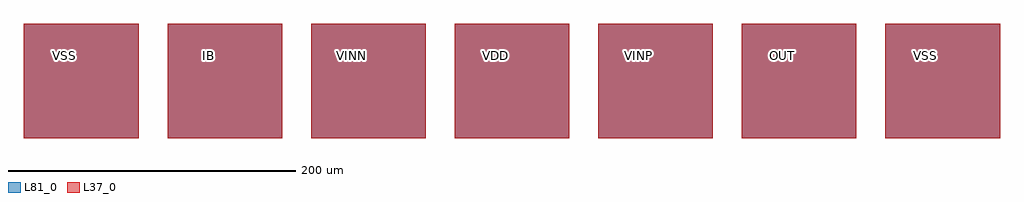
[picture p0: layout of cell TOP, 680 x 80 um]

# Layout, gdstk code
import gdstk
lib = gdstk.Library(unit=1e-6, precision=1e-09)
def R(c, l, rs):  # rectangles x0, y0, x1, y1
    for r in rs: c.add(gdstk.rectangle(r[:2], r[2:], *l))
def A(c, l, x, y, w, h, nx, ny, dx, dy):  # array of equal rectangles
    R(c, l, [(x+i*dx, y+j*dy, x+i*dx+w, y+j*dy+h) for i in range(nx) for j in range(ny)])
L37_0 = (37, 0)
L81_0 = (81, 0)

top = lib.new_cell('TOP')
A(top, L37_0, 10, -123.94, 80, 80, 7, 1, 100, 0)
A(top, L81_0, 10, -123.94, 80, 80, 7, 1, 100, 0)
top.add(gdstk.Label('VSS', (38.32,-65.86), layer=81, texttype=10))
top.add(gdstk.Label('IB', (138.32,-65.86), layer=81, texttype=10))
top.add(gdstk.Label('VINN', (238.32,-65.86), layer=81, texttype=10))
top.add(gdstk.Label('VDD', (338.32,-65.86), layer=81, texttype=10))
top.add(gdstk.Label('VINP', (438.32,-65.86), layer=81, texttype=10))
top.add(gdstk.Label('OUT', (538.32,-65.86), layer=81, texttype=10))
top.add(gdstk.Label('VSS', (638.32,-65.86), layer=81, texttype=10))

lib.write_gds('TOP.gds')
